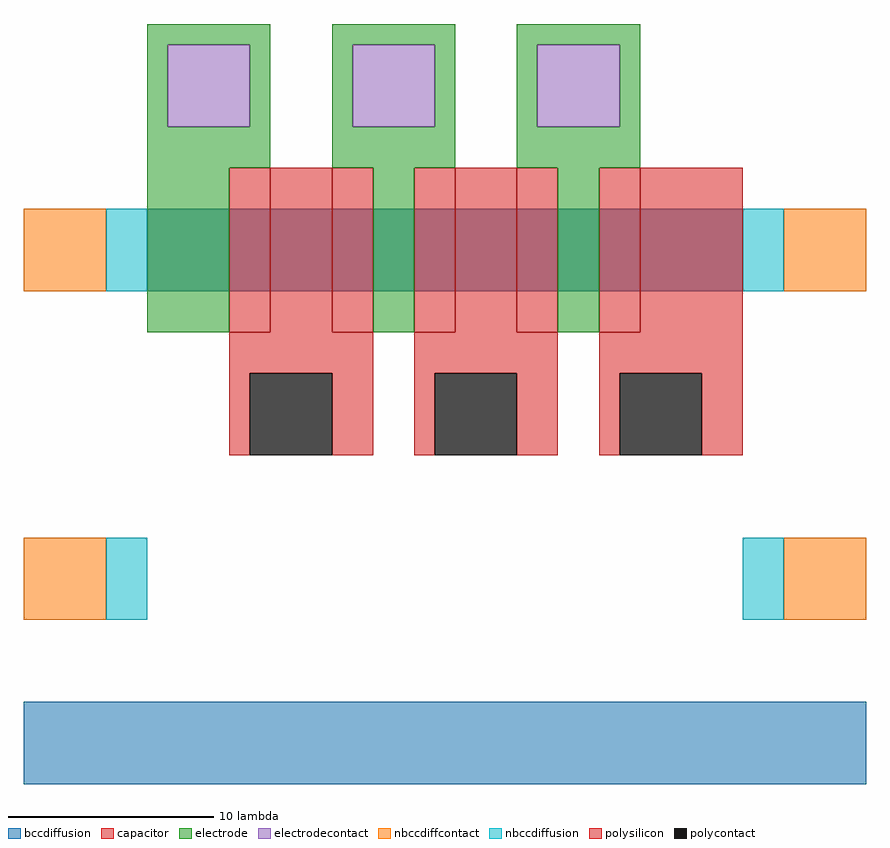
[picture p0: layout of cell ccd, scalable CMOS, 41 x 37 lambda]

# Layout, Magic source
magic
tech scmos
<< polysilicon >>
rect 12 6 15 14
rect 21 6 24 14
rect 30 6 35 14
rect 10 4 17 6
rect 10 0 11 4
rect 15 0 17 4
rect 19 4 26 6
rect 19 0 20 4
rect 24 0 26 4
rect 28 4 35 6
rect 28 0 29 4
rect 33 0 35 4
<< electrode >>
rect 6 20 12 21
rect 6 16 7 20
rect 11 16 12 20
rect 6 14 12 16
rect 15 20 21 21
rect 15 16 16 20
rect 20 16 21 20
rect 15 14 21 16
rect 24 20 30 21
rect 24 16 25 20
rect 29 16 30 20
rect 24 14 30 16
rect 6 6 10 14
rect 17 6 19 14
rect 26 6 28 14
<< capacitor >>
rect 10 6 12 14
rect 15 6 17 14
rect 19 6 21 14
rect 24 6 26 14
rect 28 6 30 14
<< bccdiffusion >>
rect 6 8 35 12
rect 0 -16 41 -12
<< nbccdiffusion >>
rect 4 8 6 12
rect 35 8 37 12
rect 4 -8 6 -4
rect 35 -8 37 -4
<< polycontact >>
rect 11 0 15 4
rect 20 0 24 4
rect 29 0 33 4
<< electrodecontact >>
rect 7 16 11 20
rect 16 16 20 20
rect 25 16 29 20
<< nbccdiffcontact >>
rect 0 8 4 12
rect 37 8 41 12
rect 0 -8 4 -4
rect 37 -8 41 -4
<< labels >>
rlabel space -5 -7 -5 -7 3 layer
rlabel space -5 -5 -5 -5 3 active
rlabel space -5 -13 -5 -13 3 well
rlabel space -5 -15 -5 -15 3 layer
<< end >>
